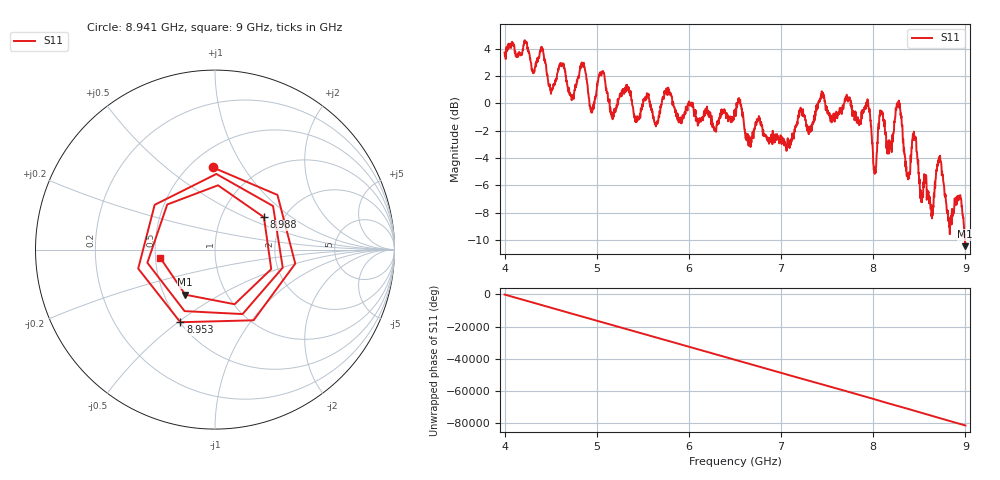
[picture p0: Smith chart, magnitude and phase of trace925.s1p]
! Created with skrf 1.8.0 (http://scikit-rf.org).
# Hz S RI R 50.0
!freq ReS11 ImS11
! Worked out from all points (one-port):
!   1601 points, 4 GHz to 9 GHz, reference 50 ohm
!   lowest |S11| = -10.4 dB at 8.997 GHz (marker M1), VSWR 1.86, Z = 32 - j17.7 ohm
!   |S11| at or under -10 dB: 8.994924 GHz to end of sweep
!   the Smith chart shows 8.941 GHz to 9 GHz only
!   S11 on the Smith chart (normalised r, x): 8.941 GHz: 0.64, +0.74; 8.953 GHz: 0.50, -0.51; 8.988 GHz: 1.59, +0.64; 9 GHz: 0.53, -0.05
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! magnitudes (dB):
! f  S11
! 4 GHz  3.7
! 4.503 GHz  0.7
! 4.625 GHz  2.8
! 4.728 GHz  0.2
! 4.853 GHz  2.7
! 4.944 GHz  -0.7
! 5.053 GHz  2.2
! 5.166 GHz  -0.7
! 5.25 GHz  0.7
! 5.875 GHz  -1.2
! 6.5 GHz  -0.7
! 7.125 GHz  -2.4
! 7.75 GHz  0.3
! 7.941 GHz  -0.1
! 8.016 GHz  -5.2
! 8.078 GHz  -0.8
! 8.178 GHz  -3.3
! 8.275 GHz  0.1
! 8.375 GHz  -5.4
! 8.441 GHz  -2.1
! 8.628 GHz  -7.4
! 8.716 GHz  -4.0
! 8.825 GHz  -9.0
! 8.941 GHz  -6.8
! 8.953 GHz  -7.0
! 8.988 GHz  -9.7
! 8.997 GHz  -10.4
! 9 GHz  -10.2
